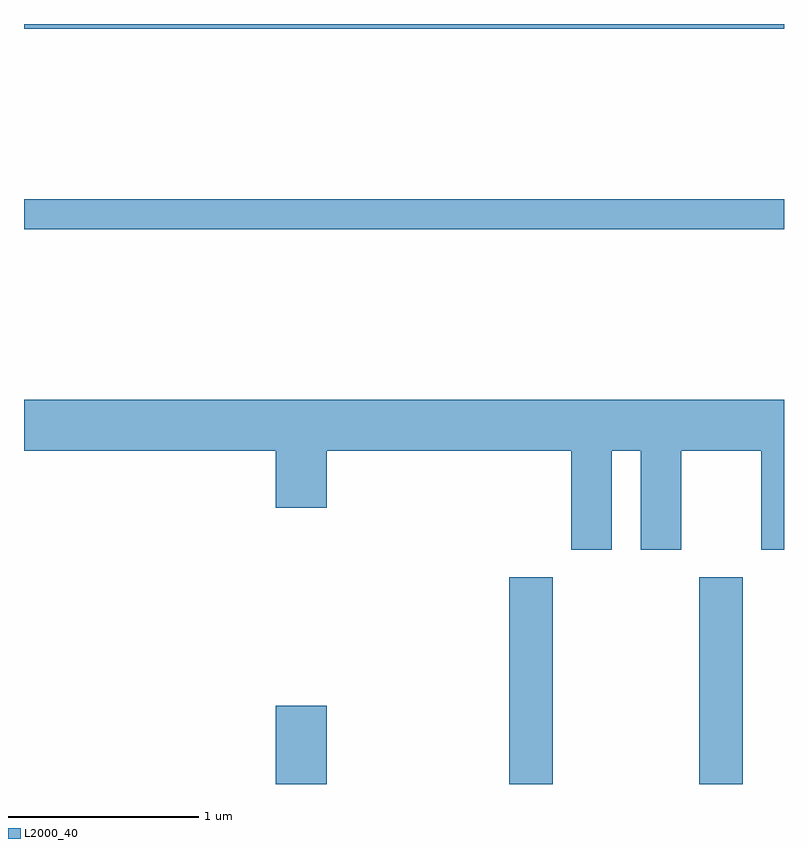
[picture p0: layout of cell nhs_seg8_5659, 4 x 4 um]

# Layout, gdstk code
import gdstk
lib = gdstk.Library(unit=1e-6, precision=1e-09)
def R(c, l, rs):  # rectangles x0, y0, x1, y1
    for r in rs: c.add(gdstk.rectangle(r[:2], r[2:], *l))
def P(c, l, *ps):  # polygons
    for p in ps: c.add(gdstk.Polygon(p, *l))
L2000_40 = (2000, 40)

nhs_seg8_5659 = lib.new_cell('nhs_seg8_5659')
R(nhs_seg8_5659, L2000_40, [(354.936,1932.342,355.204,1932.754), (356.166,1932.342,356.394,1933.429), (357.166,1932.342,357.394,1933.429), (353.611,1935.261,357.611,1935.419), (353.611,1936.316,357.611,1936.342)])
P(nhs_seg8_5659, L2000_40, [(356.704,1934.096),(356.856,1934.096),(356.856,1933.576),(357.069,1933.576),(357.069,1934.096),(357.491,1934.096),(357.491,1933.576),(357.611,1933.576),(357.611,1934.364),(353.611,1934.364),(353.611,1934.096),(354.936,1934.096),(354.936,1933.796),(355.204,1933.796),(355.204,1934.096),(356.491,1934.096),(356.491,1933.576),(356.704,1933.576)])

lib.write_gds('nhs_seg8_5659.gds')
